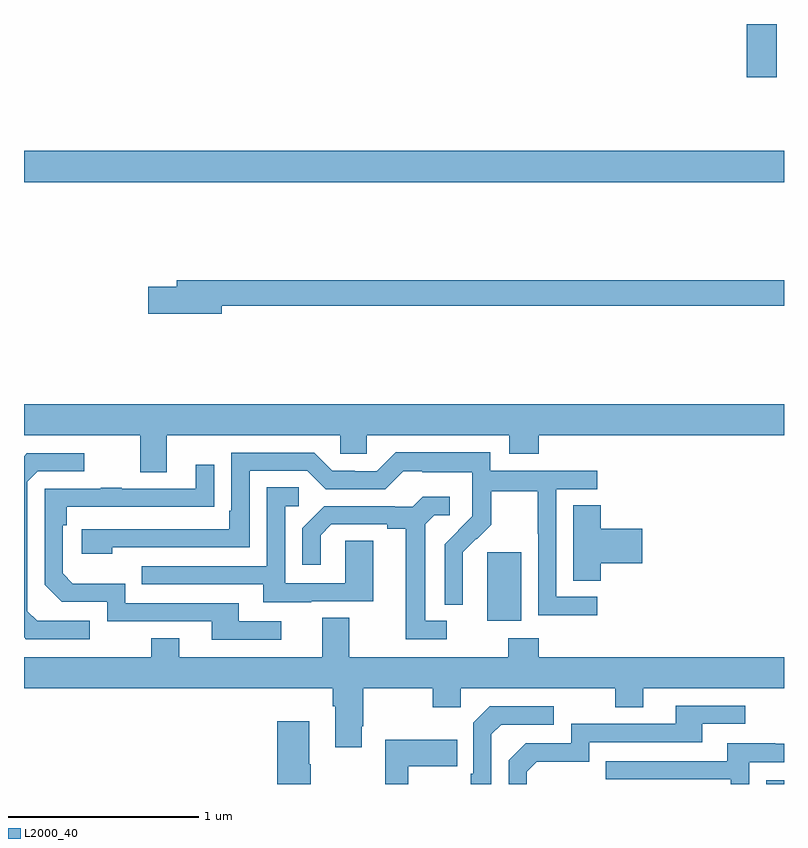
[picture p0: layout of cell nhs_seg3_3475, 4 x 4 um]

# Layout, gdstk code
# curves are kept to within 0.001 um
import gdstk
lib = gdstk.Library(unit=1e-6, precision=1e-09)
def R(c, l, rs):  # rectangles x0, y0, x1, y1
    for r in rs: c.add(gdstk.rectangle(r[:2], r[2:], *l))
def P(c, l, *ps):  # polygons
    for p in ps: c.add(gdstk.Polygon(p, *l))
L2000_40 = (2000, 40)

nhs_seg3_3475 = lib.new_cell('nhs_seg3_3475')
R(nhs_seg3_3475, L2000_40, [(294.906,712.4,295,712.42), (293.438,713.258,293.617,713.619), (291,715.568,295,715.732), (294.803,716.121,294.963,716.4)])
P(nhs_seg3_3475, L2000_40, [(292.042,714.916),(295,714.916),(295,715.052),(291.803,715.052),(291.803,715.016),(291.654,715.016),(291.654,714.874),(292.042,714.874)],
  [(291.751,714.236),(292.665,714.236),(292.665,714.138),(292.803,714.138),(292.803,714.236),(293.555,714.236),(293.555,714.137),(293.708,714.137),(293.708,714.236),(295,714.236),(295,714.4),(291,714.4),(291,714.236),(291.611,714.236),(291.611,714.042),(291.751,714.042)],
  [(294.016,713.385),(293.802,713.385),(293.802,713.952),(294.016,713.952),(294.016,714.048),(293.454,714.048),(293.454,714.145),(292.957,714.145),(292.857,714.045),(292.742,714.045),(292.742,714.048),(292.623,714.048),(292.527,714.144),(292.092,714.144),(292.092,713.839),(292.079,713.839),(292.079,713.742),(291.303,713.742),(291.303,713.612),(291.464,713.612),(291.464,713.646),(292.188,713.646),(292.188,714.048),(292.491,714.048),(292.587,713.952),(292.902,713.952),(292.995,714.045),(293.095,714.045),(293.095,714.041),(293.358,714.041),(293.358,713.907),(293.36,713.907),(293.36,713.81),(293.214,713.662),(293.214,713.344),(293.31,713.344),(293.309,713.621),(293.379,713.691),(293.382,713.688),(293.459,713.765),(293.459,713.94),(293.704,713.94),(293.704,713.716),(293.706,713.716),(293.706,713.287),(294.016,713.287)],
  [(291.346,713.259),(291.069,713.259),(291.018,713.31),(291.018,713.991),(291.072,714.045),(291.316,714.045),(291.316,714.141),(291.015,714.141),(291,714.126),(291,713.172),(291.009,713.163),(291.346,713.163)],
  [(292.354,713.256),(292.129,713.256),(292.129,713.352),(291.534,713.352),(291.534,713.455),(291.257,713.455),(291.204,713.508),(291.204,713.762),(291.224,713.762),(291.224,713.859),(292.001,713.86),(292.001,714.079),(291.905,714.079),(291.905,713.955),(291.515,713.955),(291.515,713.96),(291.403,713.96),(291.403,713.955),(291.108,713.955),(291.108,713.448),(291.198,713.358),(291.438,713.358),(291.438,713.256),(291.989,713.256),(291.989,713.16),(292.354,713.16)],
  [(292.513,713.361),(292.837,713.361),(292.837,713.681),(292.692,713.681),(292.692,713.457),(292.374,713.457),(292.374,713.862),(292.447,713.862),(292.447,713.963),(292.278,713.963),(292.278,713.547),(291.619,713.547),(291.619,713.451),(292.259,713.451),(292.259,713.357),(292.513,713.357)],
  [(293.224,713.259),(293.113,713.259),(293.113,713.767),(293.16,713.814),(293.242,713.814),(293.242,713.911),(293.098,713.911),(293.046,713.859),(292.952,713.859),(292.952,713.862),(292.58,713.862),(292.464,713.746),(292.464,713.553),(292.561,713.553),(292.561,713.709),(292.618,713.766),(292.913,713.766),(292.913,713.744),(293.009,713.744),(293.009,713.163),(293.224,713.163)],
  [(294.035,713.561),(294.253,713.561),(294.253,713.744),(294.035,713.744),(294.035,713.867),(293.891,713.867),(293.891,713.47),(294.035,713.47)],
  [(292.777,712.705),(292.785,712.705),(292.785,712.904),(293.152,712.904),(293.152,712.805),(293.298,712.805),(293.298,712.904),(294.112,712.904),(294.112,712.805),(294.259,712.805),(294.259,712.904),(295,712.904),(295,713.068),(293.708,713.068),(293.708,713.167),(293.548,713.167),(293.548,713.068),(292.711,713.068),(292.711,713.276),(292.571,713.276),(292.571,713.068),(291.817,713.068),(291.817,713.167),(291.67,713.167),(291.67,713.068),(291,713.068),(291,712.904),(292.625,712.904),(292.625,712.808),(292.637,712.808),(292.637,712.593),(292.777,712.593)],
  [(293.646,712.464),(293.699,712.517),(293.976,712.517),(293.976,712.62),(294.571,712.62),(294.571,712.716),(294.796,712.716),(294.796,712.812),(294.431,712.812),(294.431,712.716),(293.88,712.716),(293.88,712.614),(293.64,712.614),(293.55,712.524),(293.55,712.4),(293.646,712.4)],
  [(293.46,712.662),(293.511,712.713),(293.788,712.713),(293.788,712.809),(293.451,712.809),(293.364,712.722),(293.364,712.453),(293.352,712.453),(293.352,712.4),(293.46,712.4)],
  [(292.509,712.505),(292.501,712.505),(292.501,712.729),(292.334,712.729),(292.334,712.4),(292.509,712.4)],
  [(293.023,712.493),(293.279,712.493),(293.279,712.633),(292.902,712.633),(292.902,712.4),(293.023,712.4)],
  [(294.816,712.515),(295,712.515),(295,712.611),(294.955,712.611),(294.955,712.615),(294.701,712.615),(294.701,712.521),(294.061,712.521),(294.061,712.425),(294.72,712.425),(294.72,712.4),(294.816,712.4)])

lib.write_gds('nhs_seg3_3475.gds')
